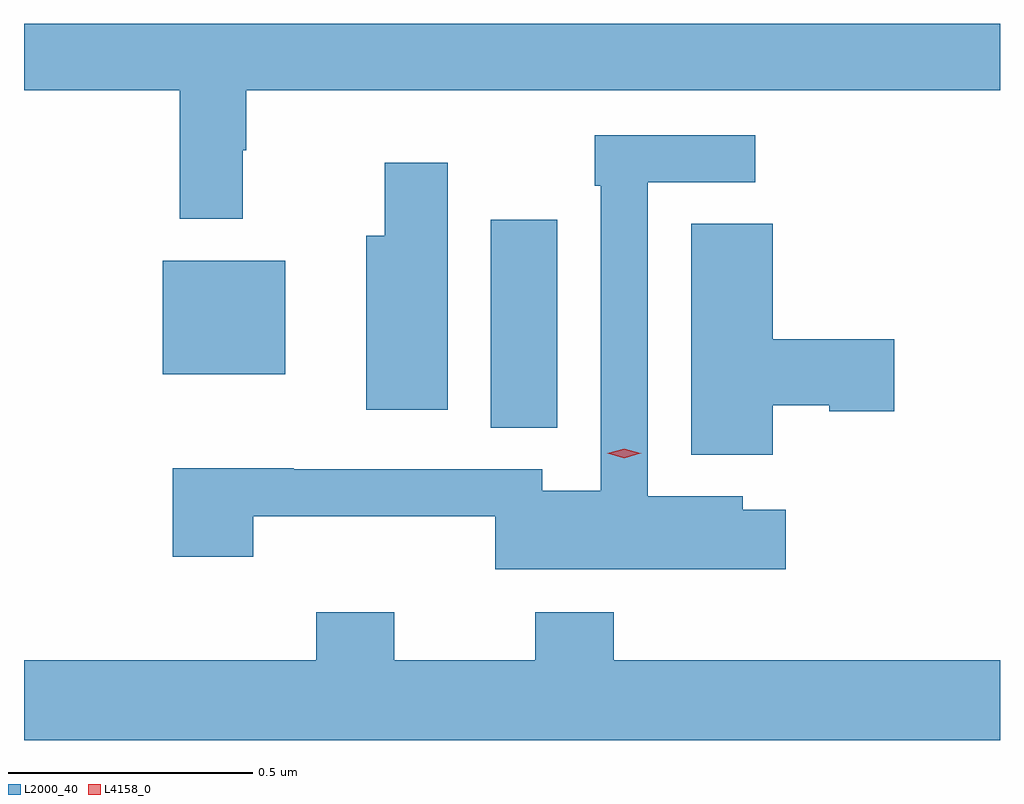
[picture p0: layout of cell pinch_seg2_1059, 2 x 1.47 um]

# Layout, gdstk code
import gdstk
lib = gdstk.Library(unit=1e-6, precision=1e-09)
def R(c, l, rs):  # rectangles x0, y0, x1, y1
    for r in rs: c.add(gdstk.rectangle(r[:2], r[2:], *l))
def P(c, l, *ps):  # polygons
    for p in ps: c.add(gdstk.Polygon(p, *l))
L2000_40 = (2000, 40)
L4158_0 = (4158, 0)

pinch_seg2_1059 = lib.new_cell('pinch_seg2_1059')
R(pinch_seg2_1059, L2000_40, [(322.97,614.977,323.107,615.403), (322.298,615.086,322.549,615.319)])
P(pinch_seg2_1059, L2000_40, [(322.462,615.545),(322.469,615.545),(322.469,615.668),(324.014,615.668),(324.014,615.805),(322.014,615.805),(322.014,615.668),(322.333,615.668),(322.333,615.405),(322.462,615.405)],
  [(323.575,614.809),(323.487,614.809),(323.487,614.836),(323.292,614.836),(323.292,615.48),(323.512,615.48),(323.512,615.576),(323.184,615.576),(323.184,615.473),(323.196,615.473),(323.196,614.848),(323.076,614.848),(323.076,614.892),(322.567,614.892),(322.567,614.894),(322.319,614.894),(322.319,614.712),(322.484,614.712),(322.484,614.795),(322.98,614.795),(322.98,614.687),(323.575,614.687)],
  [(322.882,615.52),(322.753,615.52),(322.753,615.37),(322.715,615.37),(322.715,615.014),(322.882,615.014)],
  [(323.548,615.023),(323.664,615.023),(323.664,615.011),(323.797,615.011),(323.797,615.158),(323.548,615.158),(323.548,615.395),(323.381,615.395),(323.381,614.921),(323.548,614.921)],
  [(324.014,614.5),(323.222,614.5),(323.222,614.599),(323.062,614.599),(323.062,614.5),(322.773,614.5),(322.773,614.599),(322.613,614.599),(322.613,614.5),(322.014,614.5),(322.014,614.336),(324.014,614.336)])
P(pinch_seg2_1059, L4158_0, [(323.244,614.914),(323.209,614.924),(323.209,614.924),(323.209,614.924),(323.244,614.934),(323.278,614.924),(323.279,614.924),(323.278,614.924)])

lib.write_gds('pinch_seg2_1059.gds')
